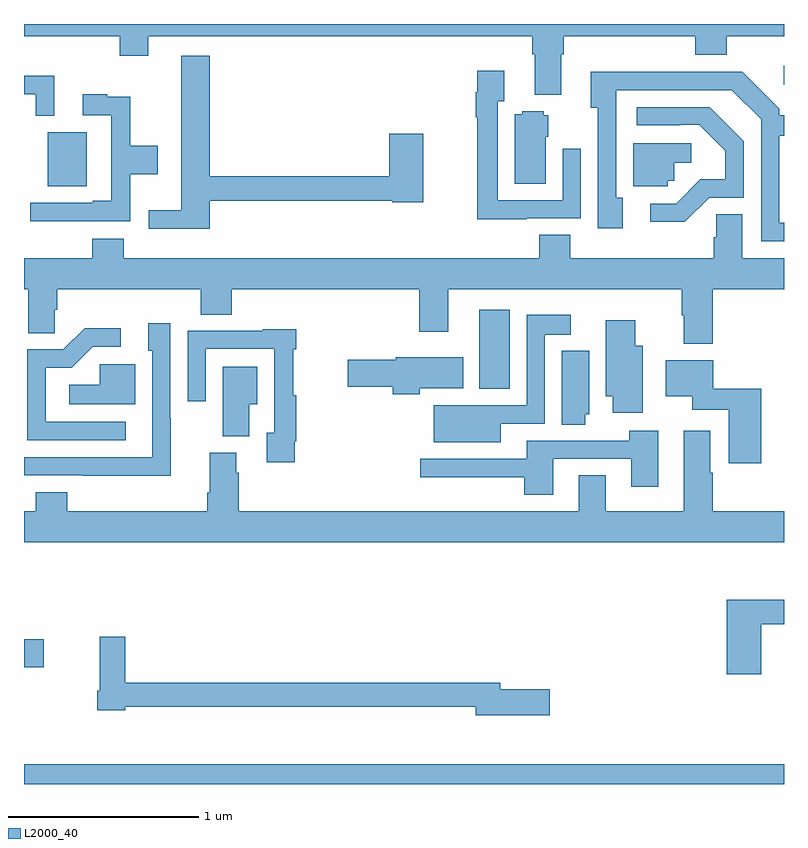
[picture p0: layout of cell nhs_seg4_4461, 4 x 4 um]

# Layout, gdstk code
import gdstk
lib = gdstk.Library(unit=1e-6, precision=1e-09)
def R(c, l, rs):  # rectangles x0, y0, x1, y1
    for r in rs: c.add(gdstk.rectangle(r[:2], r[2:], *l))
def P(c, l, *ps):  # polygons
    for p in ps: c.add(gdstk.Polygon(p, *l))
L2000_40 = (2000, 40)

nhs_seg4_4461 = lib.new_cell('nhs_seg4_4461')
R(nhs_seg4_4461, L2000_40, [(351,776.9,355,777.004), (351,777.515,351.103,777.662), (353.396,778.979,353.557,779.395), (351.125,780.047,351.331,780.331), (354.999,780.581,355,780.679)])
P(nhs_seg4_4461, L2000_40, [(353.827,780.74),(353.84,780.74),(353.84,780.836),(354.533,780.836),(354.533,780.737),(354.698,780.737),(354.698,780.836),(355,780.836),(355,780.9),(351,780.9),(351,780.836),(351.503,780.836),(351.503,780.734),(351.655,780.734),(351.655,780.836),(353.675,780.836),(353.675,780.74),(353.687,780.74),(353.687,780.527),(353.827,780.527)],
  [(351.977,779.97),(352.938,779.97),(352.938,779.962),(353.1,779.962),(353.1,780.322),(352.922,780.322),(352.922,780.098),(351.977,780.098),(351.977,780.733),(351.827,780.733),(351.827,779.921),(351.657,779.921),(351.657,779.822),(351.977,779.822)],
  [(353.647,779.877),(353.931,779.877),(353.931,780.244),(353.835,780.244),(353.835,779.973),(353.493,779.973),(353.493,780.494),(353.527,780.494),(353.527,780.655),(353.385,780.655),(353.385,780.542),(353.377,780.542),(353.377,780.41),(353.385,780.41),(353.385,779.873),(353.647,779.873)],
  [(355,779.853),(354.976,779.853),(354.976,780.312),(355,780.312),(355,780.421),(354.975,780.421),(354.975,780.453),(354.78,780.648),(354.449,780.648),(354.449,780.65),(353.984,780.65),(353.984,780.458),(354.021,780.458),(354.021,779.826),(354.151,779.826),(354.151,779.986),(354.117,779.986),(354.117,780.552),(354.726,780.552),(354.879,780.399),(354.879,779.757),(355,779.757)],
  [(351.16,780.627),(351,780.627),(351,780.531),(351.063,780.531),(351.063,780.416),(351.16,780.416)],
  [(351.275,779.862),(351.56,779.862),(351.56,780.11),(351.703,780.11),(351.703,780.258),(351.56,780.258),(351.56,780.518),(351.437,780.518),(351.437,780.529),(351.309,780.529),(351.309,780.42),(351.459,780.42),(351.459,779.971),(351.362,779.971),(351.362,779.958),(351.033,779.958),(351.033,779.861),(351.275,779.861)],
  [(354.606,779.985),(354.789,779.985),(354.789,780.283),(354.61,780.462),(354.225,780.462),(354.225,780.366),(354.455,780.366),(354.455,780.369),(354.555,780.369),(354.692,780.232),(354.692,780.082),(354.559,780.082),(354.432,779.955),(354.297,779.955),(354.297,779.858),(354.478,779.858)],
  [(353.746,780.306),(353.758,780.306),(353.758,780.42),(353.736,780.42),(353.736,780.442),(353.622,780.442),(353.622,780.424),(353.582,780.424),(353.582,780.058),(353.746,780.058)],
  [(354.387,780.075),(354.423,780.075),(354.423,780.17),(354.511,780.17),(354.511,780.273),(354.206,780.273),(354.206,780.045),(354.387,780.045)],
  [(353.876,779.792),(353.711,779.792),(353.711,779.668),(351.524,779.668),(351.524,779.77),(351.359,779.77),(351.359,779.668),(351,779.668),(351,779.504),(351.023,779.504),(351.023,779.272),(351.162,779.272),(351.162,779.395),(351.176,779.395),(351.176,779.504),(351.929,779.504),(351.929,779.371),(352.094,779.371),(352.094,779.504),(353.081,779.504),(353.081,779.28),(353.233,779.28),(353.233,779.504),(354.461,779.504),(354.461,779.366),(354.473,779.366),(354.473,779.216),(354.626,779.216),(354.626,779.504),(355,779.504),(355,779.668),(354.781,779.668),(354.781,779.9),(354.643,779.9),(354.643,779.778),(354.629,779.778),(354.629,779.668),(353.876,779.668)],
  [(353.509,778.797),(353.742,778.797),(353.742,779.264),(353.878,779.264),(353.878,779.371),(353.646,779.371),(353.646,778.893),(353.4,778.893),(353.4,778.894),(353.156,778.894),(353.156,778.7),(353.509,778.7)],
  [(354.256,779.206),(354.217,779.206),(354.217,779.341),(354.062,779.341),(354.062,778.94),(354.098,778.94),(354.098,778.854),(354.256,778.854)],
  [(351.773,778.826),(351.771,778.826),(351.771,779.326),(351.653,779.326),(351.653,779.181),(351.675,779.181),(351.675,778.62),(351,778.62),(351,778.524),(351.31,778.524),(351.31,778.523),(351.773,778.523)],
  [(351.535,778.806),(351.114,778.806),(351.114,779.091),(351.252,779.091),(351.363,779.202),(351.508,779.202),(351.508,779.3),(351.32,779.3),(351.207,779.187),(351.018,779.187),(351.018,778.71),(351.535,778.71)],
  [(352.426,778.705),(352.433,778.705),(352.433,778.947),(352.418,778.947),(352.418,779.189),(352.433,779.189),(352.433,779.293),(352.257,779.293),(352.257,779.286),(351.861,779.286),(351.861,778.914),(351.957,778.914),(351.957,779.19),(352.317,779.19),(352.317,778.749),(352.277,778.749),(352.277,778.593),(352.426,778.593)],
  [(353.953,778.845),(353.974,778.845),(353.974,779.179),(353.831,779.179),(353.831,778.792),(353.953,778.792)],
  [(353.082,778.982),(353.311,778.982),(353.311,779.146),(352.956,779.146),(352.956,779.133),(352.704,779.133),(352.704,778.991),(352.94,778.991),(352.94,778.952),(353.082,778.952)],
  [(354.881,778.981),(354.628,778.981),(354.628,779.131),(354.377,779.131),(354.377,778.94),(354.518,778.94),(354.518,778.871),(354.71,778.871),(354.71,778.587),(354.881,778.587)],
  [(351.586,779.109),(351.399,779.109),(351.399,779.002),(351.237,779.002),(351.237,778.898),(351.586,778.898)],
  [(352.186,778.898),(352.228,778.898),(352.228,779.095),(352.046,779.095),(352.046,778.729),(352.186,778.729)],
  [(353.785,778.611),(354.197,778.611),(354.197,778.464),(354.337,778.464),(354.337,778.759),(354.185,778.759),(354.185,778.707),(353.645,778.707),(353.645,778.611),(353.085,778.611),(353.085,778.514),(353.633,778.514),(353.633,778.422),(353.785,778.422)],
  [(355,778.336),(354.626,778.336),(354.626,778.539),(354.613,778.539),(354.613,778.759),(354.473,778.759),(354.473,778.336),(354.061,778.336),(354.061,778.526),(353.921,778.526),(353.921,778.336),(352.13,778.336),(352.13,778.538),(352.117,778.538),(352.117,778.644),(351.977,778.644),(351.977,778.432),(351.965,778.432),(351.965,778.336),(351.227,778.336),(351.227,778.435),(351.062,778.435),(351.062,778.336),(351,778.336),(351,778.172),(355,778.172)],
  [(354.881,777.742),(355,777.742),(355,777.871),(354.698,777.871),(354.698,777.477),(354.881,777.477)],
  [(353.767,777.398),(353.506,777.398),(353.506,777.434),(351.533,777.434),(351.533,777.676),(351.398,777.676),(351.398,777.391),(351.386,777.391),(351.386,777.287),(351.533,777.287),(351.533,777.306),(353.378,777.306),(353.378,777.263),(353.767,777.263)])

lib.write_gds('nhs_seg4_4461.gds')
